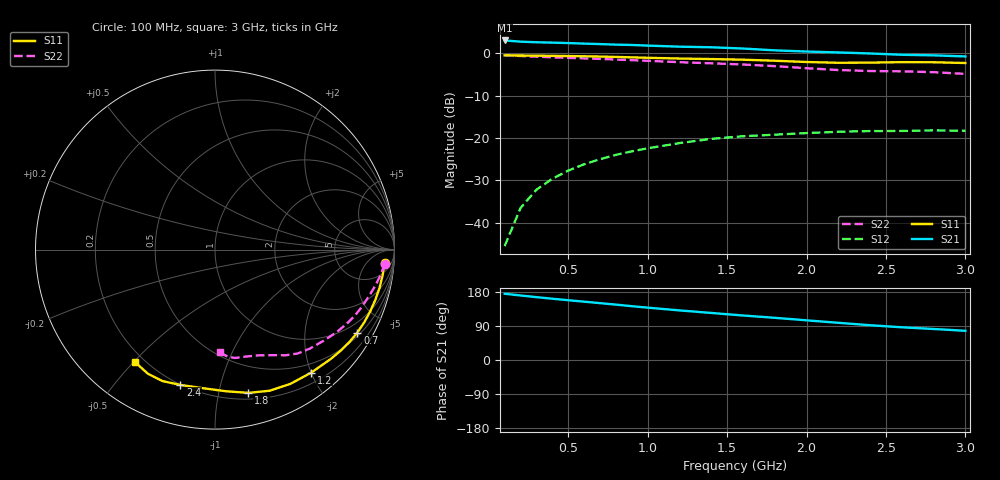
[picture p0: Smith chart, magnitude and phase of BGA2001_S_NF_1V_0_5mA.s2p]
! Title: BGA2001
! Bias: Vce=1V; Ic=.5mA controlled
! Company: Philips Semiconductors NL
! User: Quality&Reliability T&D
! Measure time: 23 Oct 1998 / 08:33:08
#  MHz  S  MA  R 50
! Freq  S11  S21  S12  S22  :
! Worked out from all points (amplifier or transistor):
!   20 points, 100 MHz to 3 GHz, reference 50 ohm
!   highest |S21| = 3.1 dB at 100 MHz (marker M1)
!   |S21| within 3 dB of that: start of sweep to 2.337 GHz
!   unconditionally stable (mu >= 1): start of sweep to 109.8 MHz
!   at 400 MHz: K = 0.26, MSG = 16.1 dB, |S12| = -29.6 dB
!   at 1.2 GHz: K = 0.40, MSG = 11.4 dB, |S12| = -21.2 dB
!   at 3 GHz: K = 0.99, MSG = 8.8 dB, |S12| = -18.3 dB
!   lowest NFmin = 1.33 dB at 1.8 GHz
!   S11 on the Smith chart (normalised r, x): 100 MHz: 12, -17; 700 MHz: 0.61, -3.61; 1.2 GHz: 0.35, -2.00; 1.8 GHz: 0.25, -1.23; 2.4 GHz: 0.20, -0.76; 3 GHz: 0.16, -0.51
100  0.9471 -4.4  1.423 174.9  0.00526 52.8  0.9494 -4.8
200  0.9448 -8.7  1.377 170.3  0.01484 84.0  0.933 -8.9
300  0.9412 -13.1  1.356 165.9  0.02445 80.6  0.9161 -12.5
400  0.9362 -17.4  1.341 161.7  0.03295 77.1  0.9 -15.9
500  0.9309 -21.7  1.326 157.8  0.04113 74.1  0.8861 -19.1
600  0.925 -26.0  1.306 153.9  0.04888 71.1  0.8739 -22.3
700  0.918 -30.2  1.289 150.1  0.05613 68.2  0.8614 -25.3
800  0.9091 -34.5  1.27 146.2  0.06314 65.3  0.8469 -28.3
900  0.8985 -38.8  1.259 142.0  0.06951 62.4  0.8324 -31.3
1000  0.888 -43.1  1.237 138.2  0.07555 59.7  0.8183 -34.3
1200  0.8702 -51.9  1.202 130.9  0.08697 54.3  0.7882 -40.3
1400  0.8579 -60.7  1.182 124.2  0.09768 49.3  0.7641 -46.2
1600  0.8431 -68.9  1.142 117.4  0.105 44.9  0.7394 -51.5
1800  0.8197 -76.9  1.087 111.4  0.1094 41.4  0.7075 -56.4
2000  0.7917 -85.5  1.052 104.7  0.1144 36.7  0.6686 -61.6
2200  0.7749 -95.2  1.027 98.2  0.1185 31.8  0.6362 -67.9
2400  0.7782 -104.3  0.9987 91.8  0.1208 28.0  0.6195 -74.4
2600  0.7889 -111.8  0.9638 86.3  0.1211 26.0  0.614 -79.6
2800  0.7862 -118.3  0.9488 81.8  0.123 23.1  0.6002 -83.4
3000  0.7698 -125.2  0.9212 77.1  0.1217 20.8  0.5725 -87.4
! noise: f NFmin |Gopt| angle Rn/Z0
900  1.46  0.71  23.8  0.95
1000  1.61  0.7  25.8  0.91
1800  1.331  0.622  72.15  0.659
2000  1.625  0.606  84.7  0.598
2200  2.181  0.552  94.89  0.515
2400  2.473  0.577  102.9  0.484
